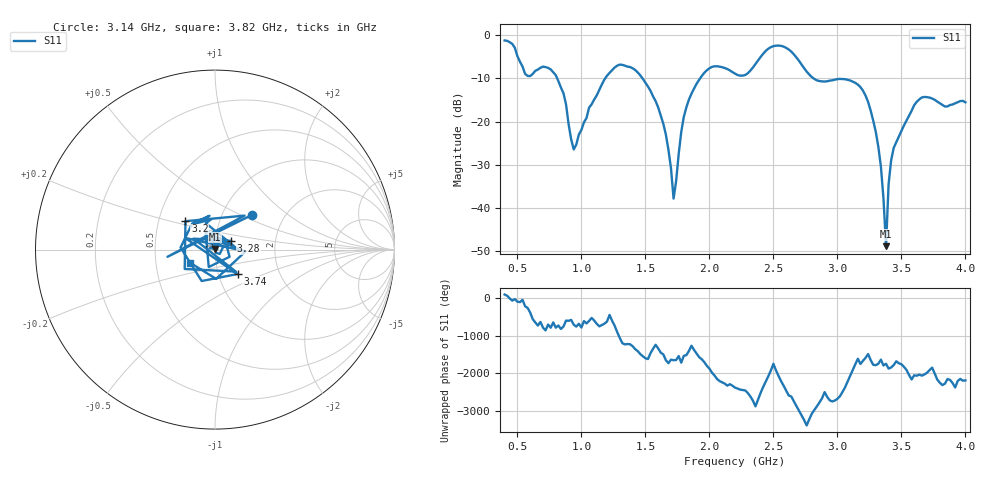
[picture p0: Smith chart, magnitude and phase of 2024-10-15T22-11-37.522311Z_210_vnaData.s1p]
! Created with skrf (http://scikit-rf.org).
# Hz S RI R 50.0
!freq ReS11 ImS11
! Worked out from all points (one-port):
!   181 points, 400 MHz to 4 GHz, reference 50 ohm
!   lowest |S11| = -48.8 dB at 3.38 GHz (marker M1), VSWR 1.01, Z = 50.2 + j0.3 ohm
!   |S11| at or under -10 dB: 811 MHz to 1.185 GHz (374.4 MHz wide, 37.5 % of centre); 1.478 GHz to 1.927 GHz (449.2 MHz wide, 26.4 % of centre); 2.815 GHz to end of sweep
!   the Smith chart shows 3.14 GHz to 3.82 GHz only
!   S11 on the Smith chart (normalised r, x): 3.14 GHz: 1.38, +0.58; 3.2 GHz: 0.69, +0.23; 3.28 GHz: 1.19, +0.12; 3.74 GHz: 1.23, -0.35; 3.82 GHz: 0.75, -0.11
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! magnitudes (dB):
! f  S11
! 400 MHz  -1.2
! 560 MHz  -8.9
! 740 MHz  -7.6
! 860 MHz  -13.4
! 940 MHz  -26.4
! 1.3 GHz  -6.8
! 1.6 GHz  -16.7
! 1.66 GHz  -23.0
! 1.72 GHz  -37.8
! 1.76 GHz  -27.5
! 1.82 GHz  -16.7
! 1.94 GHz  -9.4
! 2.2 GHz  -8.9
! 2.5 GHz  -2.5
! 2.66 GHz  -4.4
! 2.84 GHz  -10.5
! 3.1 GHz  -10.5
! 3.14 GHz  -11.0
! 3.2 GHz  -12.8
! 3.28 GHz  -19.8
! 3.34 GHz  -30.4
! 3.38 GHz  -48.8
! 3.4 GHz  -34.4
! 3.42 GHz  -28.9
! 3.56 GHz  -18.6
! 3.74 GHz  -14.6
! 3.82 GHz  -16.1
! 4 GHz  -15.5
